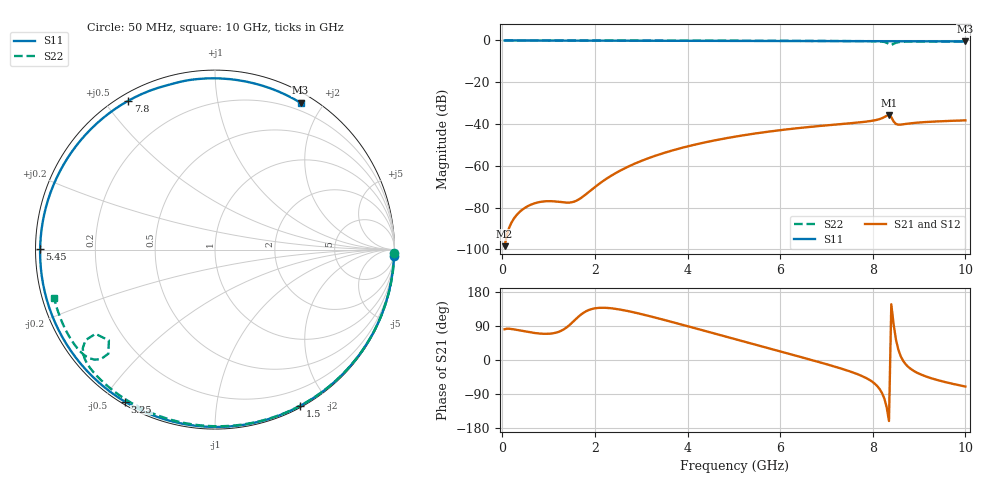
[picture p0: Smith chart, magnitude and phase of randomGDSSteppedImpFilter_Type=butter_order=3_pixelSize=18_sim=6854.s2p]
! freq	dB(S11)	phase(S11)	dB(S12)	phase(S12)
!  dB(S21)	phase(S21)	dB(S22)	phase(S22)
!S-par simulation data
#  GHz  S  DB  R 50
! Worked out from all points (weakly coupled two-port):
!   200 points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, 50 MHz to 10 GHz, reference 50 ohm
!   highest |S21| = -35.72 dB at 8.35 GHz (marker M1); lowest = -98.5 dB at 50 MHz (marker M2)
!   lowest |S11| = -0.5 dB at 10 GHz (marker M3), VSWR 36.58, Z = 5.49 + j86.7 ohm
!   |S11| at or under -10 dB: nowhere
!   |S22| runs from -2.2 to 0.0 dB; largest |S21 - S12| = 0
!   S11 on the Smith chart (normalised r, x): 50 MHz: 3, -52; 1.5 GHz: 0.02, -1.68; 3.25 GHz: 0.01, -0.57; 5.45 GHz: 0.01, +0.00; 7.8 GHz: 0.03, +0.57; 10 GHz: 0.11, +1.73
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0.05  -0.02 -2.2  -98.49 81.1  -98.49 81.1  -0.01 -1.0
0.5  -0.03 -21.2  -79.97 75.2  -79.97 75.2  -0.01 -9.5
0.7  -0.04 -29.5  -77.96 71.2  -77.96 71.2  -0.02 -13.3
1  -0.05 -41.8  -76.94 69.2  -76.94 69.2  -0.02 -18.9
1.5  -0.07 -61.4  -77.47 97.7  -77.47 97.7  -0.04 -28.2
1.75  -0.08 -70.8  -74.61 124.3  -74.61 124.3  -0.04 -32.8
2.45  -0.11 -95.3  -63.49 134.9  -63.49 134.9  -0.06 -45.4
3.25  -0.13 -120.6  -55.62 113.6  -55.62 113.6  -0.08 -59.5
3.4  -0.14 -125.1  -54.50 108.9  -54.50 108.9  -0.08 -62.1
4.2  -0.17 -147.7  -49.68 82.6  -49.68 82.6  -0.11 -75.6
5.05  -0.21 -170.0  -45.98 54.3  -45.98 54.3  -0.14 -89.5
5.45  -0.23 179.8  -44.58 41.0  -44.58 41.0  -0.16 -95.8
6.05  -0.26 164.7  -42.82 21.0  -42.82 21.0  -0.19 -105.2
6.7  -0.29 148.4  -41.27 -0.7  -41.27 -0.7  -0.22 -115.2
7.8  -0.36 120.2  -39.02 -44.2  -39.02 -44.2  -0.32 -132.7
8.25  -0.40 108.3  -36.69 -101.9  -36.69 -101.9  -0.74 -143.3
8.35  -0.41 105.7  -35.72 -161.0  -35.72 -161.0  -1.78 -144.8
8.4  -0.41 104.4  -36.73 147.0  -36.73 147.0  -2.18 -139.4
8.5  -0.40 101.8  -40.00 54.4  -40.00 54.4  -1.10 -136.1
8.55  -0.40 100.4  -40.33 28.1  -40.33 28.1  -0.83 -137.6
9.25  -0.42 81.0  -38.92 -47.6  -38.92 -47.6  -0.49 -151.4
10  -0.48 59.8  -38.26 -70.0  -38.26 -70.0  -0.57 -163.3
